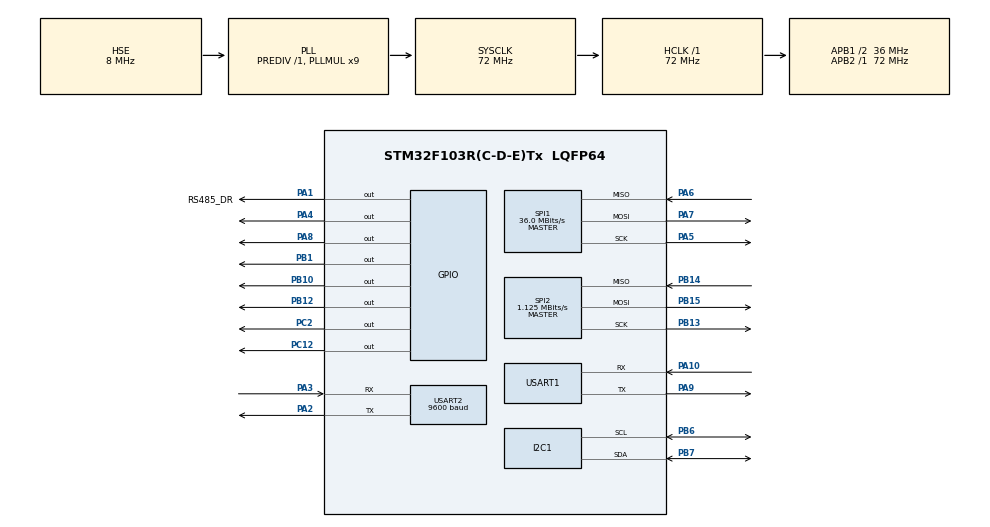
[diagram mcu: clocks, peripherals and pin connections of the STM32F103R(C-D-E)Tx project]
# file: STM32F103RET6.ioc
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Mcu.Family=STM32F1
Mcu.Name=STM32F103R(C-D-E)Tx
Mcu.Package=LQFP64
NVIC.PriorityGroup=NVIC_PRIORITYGROUP_4
NVIC.TIM1_UP_IRQn=true\:15\:0\:false\:false\:true\:false\:true\:true
NVIC.TimeBase=TIM1_UP_IRQn
NVIC.TimeBaseIP=TIM1
NVIC.USART1_IRQn=true\:0\:0\:false\:false\:true\:true\:true\:true
NVIC.USART2_IRQn=true\:0\:0\:false\:false\:true\:true\:true\:true
PA1.GPIO_Label=RS485_DR
PA1.Signal=GPIO_Output
PA10.Mode=Asynchronous
PA10.Signal=USART1_RX
PA13.Mode=Serial_Wire
PA13.Signal=SYS_JTMS-SWDIO
PA14.Mode=Serial_Wire
PA14.Signal=SYS_JTCK-SWCLK
PA2.Mode=Asynchronous
PA2.Signal=USART2_TX
PA3.Mode=Asynchronous
PA3.Signal=USART2_RX
PA4.Signal=GPIO_Output
PA5.Mode=Full_Duplex_Master
PA5.Signal=SPI1_SCK
PA6.Mode=Full_Duplex_Master
PA6.Signal=SPI1_MISO
PA7.Mode=Full_Duplex_Master
PA7.Signal=SPI1_MOSI
PA8.GPIO_Speed=GPIO_SPEED_FREQ_HIGH
PA8.Signal=GPIO_Output
PA9.Mode=Asynchronous
PA9.Signal=USART1_TX
PB1.GPIO_Speed=GPIO_SPEED_FREQ_HIGH
PB1.PinState=GPIO_PIN_RESET
PB1.Signal=GPIO_Output
PB10.PinState=GPIO_PIN_SET
PB10.Signal=GPIO_Output
PB12.Signal=GPIO_Output
PB13.Mode=Full_Duplex_Master
PB13.Signal=SPI2_SCK
PB14.Mode=Full_Duplex_Master
PB14.Signal=SPI2_MISO
PB15.Mode=Full_Duplex_Master
PB15.Signal=SPI2_MOSI
PB6.Mode=I2C
PB6.Signal=I2C1_SCL
PB7.Mode=I2C
PB7.Signal=I2C1_SDA
PC12.GPIO_Speed=GPIO_SPEED_FREQ_HIGH
PC12.Signal=GPIO_Output
PC14-OSC32_IN.Mode=LSE-External-Oscillator
PC14-OSC32_IN.Signal=RCC_OSC32_IN
PC15-OSC32_OUT.Mode=LSE-External-Oscillator
PC15-OSC32_OUT.Signal=RCC_OSC32_OUT
PC2.PinState=GPIO_PIN_SET
PC2.Signal=GPIO_Output
PD0-OSC_IN.Mode=HSE-External-Oscillator
PD0-OSC_IN.Signal=RCC_OSC_IN
PD1-OSC_OUT.Mode=HSE-External-Oscillator
PD1-OSC_OUT.Signal=RCC_OSC_OUT
ProjectManager.HeapSize=0x200
ProjectManager.StackSize=0x400
ProjectManager.TargetToolchain=MDK-ARM V5.32
RCC.AHBFreq_Value=72000000
RCC.APB1CLKDivider=RCC_HCLK_DIV2
RCC.APB1Freq_Value=36000000
RCC.APB1TimFreq_Value=72000000
RCC.APB2Freq_Value=72000000
RCC.APB2TimFreq_Value=72000000
RCC.HCLKFreq_Value=72000000
RCC.PLLMUL=RCC_PLL_MUL9
RCC.PLLSourceVirtual=RCC_PLLSOURCE_HSE
RCC.SYSCLKFreq_VALUE=72000000
RCC.SYSCLKSource=RCC_SYSCLKSOURCE_PLLCLK
RCC.USBFreq_Value=72000000
SPI1.BaudRatePrescaler=SPI_BAUDRATEPRESCALER_2
SPI1.CalculateBaudRate=36.0 MBits/s
SPI1.Direction=SPI_DIRECTION_2LINES
SPI1.Mode=SPI_MODE_MASTER
SPI1.VirtualType=VM_MASTER
SPI2.BaudRatePrescaler=SPI_BAUDRATEPRESCALER_32
SPI2.CalculateBaudRate=1.125 MBits/s
SPI2.Direction=SPI_DIRECTION_2LINES
SPI2.Mode=SPI_MODE_MASTER
SPI2.VirtualType=VM_MASTER
USART1.VirtualMode=VM_ASYNC
USART2.BaudRate=9600
USART2.VirtualMode=VM_ASYNC
VP_SYS_VS_tim1.Mode=TIM1
board=custom

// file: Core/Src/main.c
/* USER CODE BEGIN Header */
/**
  ******************************************************************************
  * @file           : main.c
  * @brief          : Main program body
  ******************************************************************************
  * @attention
  *
  * Copyright (c) 2025 STMicroelectronics.
  * All rights reserved.
  *
  * This software is licensed under terms that can be found in the LICENSE file
  * in the root directory of this software component.
  * If no LICENSE file comes with this software, it is provided AS-IS.
  *
  ******************************************************************************
  */
/* USER CODE END Header */
#include "main.h"
#include "i2c.h"
#include "spi.h"
#include "usart.h"
#include "gpio.h"

/* USER CODE BEGIN Includes */
#include "stdio.h"
#include "usart_user.h"
#include "i2c_user.h"
#include "cs1231.h"
#include "sp485.h"
/* USER CODE END Includes */

void SystemClock_Config(void);
/* USER CODE BEGIN PFP */
extern double W1 ,W2,B;
extern uint8_t BIG_WEIGHT_SID,BIG_WEIGHT_DID;
extern int big_weight_flag;
extern uint8_t rx_data_usart1[100];
extern uint8_t rx_data_usart2[100];
double P = 1;
double W_est = 0;
/* USER CODE END PFP */

int main(void)
{

  /* MCU Configuration--------------------------------------------------------*/

  /* Reset of all peripherals, Initializes the Flash interface and the Systick. */
  HAL_Init();

  /* Configure the system clock */
  SystemClock_Config();

  /* USER CODE BEGIN SysInit */

  void weight_param_init();
  /* USER CODE END SysInit */

  /* Initialize all configured peripherals */
  MX_GPIO_Init();
  MX_USART1_UART_Init();
  MX_SPI1_Init();
  MX_SPI2_Init();
  MX_I2C1_Init();
  MX_USART2_UART_Init();
  /* USER CODE BEGIN 2 */
  usart_nvit_init();
  weight_param_init();
  /* USER CODE END 2 */

  /* Infinite loop */
  /* USER CODE BEGIN WHILE */
  while (1)
  {
	process_command(rx_data_usart1,rx_data_usart2);
	if(big_weight_flag != 0)
	{
	WriteDataToEEPROM(W1,W2,B,BIG_WEIGHT_SID,BIG_WEIGHT_DID);
	big_weight_flag = 0;
	}
	int AD_value1 = SPI_Receive24BitsAndConvertToVoltage(&hspi1,GPIOA,GPIO_PIN_6);
	int AD_value2 = SPI_Receive24BitsAndConvertToVoltage(&hspi2,GPIOB,GPIO_PIN_14);
	int weight = kalman_update(AD_value1,AD_value2,&P,&W_est);
	printf("%d, %d, %d\r\n",AD_value1,AD_value2,weight);
	send_data_based_on_flags(weight);
	HAL_GPIO_TogglePin(GPIOA, GPIO_PIN_8);
	HAL_GPIO_TogglePin(GPIOB, GPIO_PIN_1);
	HAL_GPIO_TogglePin(GPIOC, GPIO_PIN_12);
	HAL_Delay(100);

    /* USER CODE END WHILE */

  }
}

void SystemClock_Config(void)
{
  RCC_OscInitTypeDef RCC_OscInitStruct = {0};
  RCC_ClkInitTypeDef RCC_ClkInitStruct = {0};

  /** Initializes the RCC Oscillators according to the specified parameters
  * in the RCC_OscInitTypeDef structure.
  */
  RCC_OscInitStruct.OscillatorType = RCC_OSCILLATORTYPE_HSE;
  RCC_OscInitStruct.HSEState = RCC_HSE_ON;
  RCC_OscInitStruct.HSEPredivValue = RCC_HSE_PREDIV_DIV1;
  RCC_OscInitStruct.HSIState = RCC_HSI_ON;
  RCC_OscInitStruct.PLL.PLLState = RCC_PLL_ON;
  RCC_OscInitStruct.PLL.PLLSource = RCC_PLLSOURCE_HSE;
  RCC_OscInitStruct.PLL.PLLMUL = RCC_PLL_MUL9;
  if (HAL_RCC_OscConfig(&RCC_OscInitStruct) != HAL_OK)
  {
    Error_Handler();
  }

  /** Initializes the CPU, AHB and APB buses clocks
  */
  RCC_ClkInitStruct.ClockType = RCC_CLOCKTYPE_HCLK|RCC_CLOCKTYPE_SYSCLK
                              |RCC_CLOCKTYPE_PCLK1|RCC_CLOCKTYPE_PCLK2;
  RCC_ClkInitStruct.SYSCLKSource = RCC_SYSCLKSOURCE_PLLCLK;
  RCC_ClkInitStruct.AHBCLKDivider = RCC_SYSCLK_DIV1;
  RCC_ClkInitStruct.APB1CLKDivider = RCC_HCLK_DIV2;
  RCC_ClkInitStruct.APB2CLKDivider = RCC_HCLK_DIV1;

  if (HAL_RCC_ClockConfig(&RCC_ClkInitStruct, FLASH_LATENCY_2) != HAL_OK)
  {
    Error_Handler();
  }
}

/* USER CODE BEGIN 4 */
void weight_param_init()
{
ReadDataFromEEPROM(&W1, &W2,&B,&BIG_WEIGHT_SID,&BIG_WEIGHT_DID);
}
/* USER CODE END 4 */

void HAL_TIM_PeriodElapsedCallback(TIM_HandleTypeDef *htim)
{
  if (htim->Instance == TIM1) {
    HAL_IncTick();
  }
}

void Error_Handler(void)
{
  __disable_irq();
  while (1)
  {
  }
}
